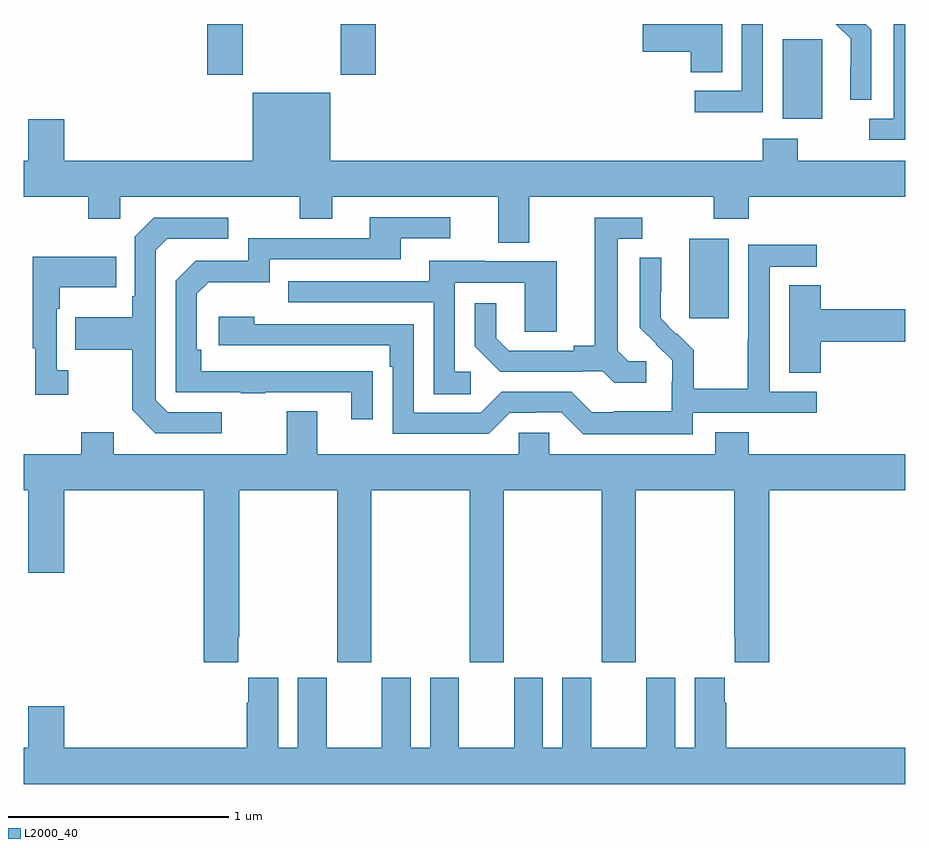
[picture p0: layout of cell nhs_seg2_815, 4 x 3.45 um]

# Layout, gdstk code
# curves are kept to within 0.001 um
import gdstk
lib = gdstk.Library(unit=1e-6, precision=1e-09)
def R(c, l, rs):  # rectangles x0, y0, x1, y1
    for r in rs: c.add(gdstk.rectangle(r[:2], r[2:], *l))
def P(c, l, *ps):  # polygons
    for p in ps: c.add(gdstk.Polygon(p, *l))
L2000_40 = (2000, 40)

nhs_seg2_815 = lib.new_cell('nhs_seg2_815')
R(nhs_seg2_815, L2000_40, [(156.02,600.465,156.199,600.826), (156.443,601.37,156.622,601.731), (153.833,601.569,153.993,601.8), (154.438,601.569,154.598,601.8)])
P(nhs_seg2_815, L2000_40, [(156.846,601.774),(156.82,601.8),(156.684,601.8),(156.752,601.733),(156.752,601.61),(156.75,601.61),(156.75,601.456),(156.846,601.456)],
  [(157,601.8),(156.947,601.8),(156.947,601.371),(156.837,601.371),(156.837,601.275),(157,601.275)],
  [(156.354,601.8),(156.258,601.8),(156.258,601.497),(156.045,601.497),(156.045,601.399),(156.354,601.399)],
  [(156.169,601.8),(155.808,601.8),(155.808,601.673),(156.026,601.673),(156.026,601.582),(156.169,601.582)],
  [(155.293,601.016),(156.13,601.016),(156.13,600.917),(156.29,600.917),(156.29,601.016),(157,601.016),(157,601.18),(156.513,601.18),(156.513,601.279),(156.353,601.279),(156.353,601.18),(154.39,601.18),(154.39,601.489),(154.04,601.489),(154.04,601.18),(153.184,601.18),(153.184,601.369),(153.02,601.369),(153.02,601.18),(153,601.18),(153,601.016),(153.292,601.016),(153.292,600.917),(153.438,600.917),(153.438,601.016),(154.252,601.016),(154.252,600.917),(154.399,600.917),(154.399,601.016),(155.153,601.016),(155.153,600.808),(155.293,600.808)],
  [(154.583,600.224),(153.806,600.225),(153.806,600.322),(153.786,600.322),(153.786,600.576),(153.839,600.629),(154.116,600.629),(154.116,600.732),(154.711,600.732),(154.711,600.828),(154.936,600.828),(154.936,600.924),(154.571,600.924),(154.571,600.828),(154.02,600.828),(154.02,600.726),(153.78,600.726),(153.69,600.636),(153.69,600.129),(153.985,600.129),(153.985,600.124),(154.097,600.124),(154.097,600.129),(154.487,600.129),(154.487,600.006),(154.583,600.006)],
  [(155.824,600.27),(155.742,600.27),(155.695,600.317),(155.695,600.825),(155.806,600.825),(155.806,600.921),(155.591,600.921),(155.591,600.341),(155.495,600.341),(155.495,600.318),(155.2,600.318),(155.143,600.375),(155.143,600.532),(155.046,600.532),(155.046,600.338),(155.162,600.222),(155.534,600.222),(155.534,600.225),(155.628,600.225),(155.68,600.173),(155.824,600.173)],
  [(153.898,600.039),(153.654,600.039),(153.6,600.093),(153.6,600.774),(153.651,600.825),(153.928,600.825),(153.928,600.921),(153.591,600.921),(153.504,600.834),(153.504,600.565),(153.492,600.565),(153.492,600.469),(153.235,600.469),(153.235,600.322),(153.492,600.322),(153.492,600.049),(153.597,599.943),(153.898,599.943)],
  [(156.036,600.036),(156.598,600.036),(156.598,600.132),(156.384,600.132),(156.384,600.699),(156.598,600.699),(156.598,600.798),(156.288,600.798),(156.288,600.368),(156.286,600.368),(156.286,600.145),(156.041,600.145),(156.041,600.319),(155.964,600.396),(155.961,600.393),(155.891,600.464),(155.892,600.74),(155.796,600.74),(155.796,600.422),(155.942,600.274),(155.942,600.177),(155.94,600.177),(155.94,600.043),(155.677,600.043),(155.677,600.039),(155.577,600.039),(155.484,600.132),(155.169,600.132),(155.073,600.036),(154.77,600.036),(154.77,600.438),(154.046,600.438),(154.046,600.472),(153.885,600.472),(153.885,600.342),(154.661,600.342),(154.661,600.245),(154.674,600.245),(154.674,599.94),(155.109,599.94),(155.205,600.036),(155.324,600.036),(155.324,600.039),(155.439,600.039),(155.539,599.939),(156.036,599.939)],
  [(153.202,600.23),(153.15,600.23),(153.15,600.509),(153.163,600.509),(153.163,600.605),(153.419,600.605),(153.419,600.745),(153.042,600.745),(153.042,600.329),(153.053,600.329),(153.053,600.117),(153.202,600.117)],
  [(155.029,600.222),(154.956,600.222),(154.956,600.627),(155.274,600.627),(155.274,600.403),(155.419,600.403),(155.419,600.723),(155.095,600.723),(155.095,600.727),(154.841,600.727),(154.841,600.633),(154.201,600.633),(154.201,600.537),(154.86,600.537),(154.86,600.121),(155.029,600.121)],
  [(156.617,600.359),(157,600.359),(157,600.506),(156.617,600.506),(156.617,600.614),(156.473,600.614),(156.473,600.217),(156.617,600.217)],
  [(153.973,599.017),(153.978,599.017),(153.978,599.684),(154.423,599.684),(154.423,598.905),(154.578,598.905),(154.578,599.684),(155.023,599.684),(155.023,598.905),(155.178,598.905),(155.178,599.684),(155.623,599.684),(155.623,598.905),(155.778,598.905),(155.778,599.684),(156.223,599.684),(156.223,599.017),(156.227,599.017),(156.227,598.905),(156.383,598.905),(156.383,599.684),(157,599.684),(157,599.848),(156.29,599.848),(156.29,599.947),(156.137,599.947),(156.137,599.848),(155.385,599.848),(155.385,599.946),(155.247,599.946),(155.247,599.848),(154.333,599.848),(154.333,600.043),(154.193,600.043),(154.193,599.848),(153.409,599.848),(153.409,599.947),(153.262,599.947),(153.262,599.848),(153,599.848),(153,599.684),(153.02,599.684),(153.02,599.31),(153.184,599.31),(153.184,599.684),(153.818,599.684),(153.818,598.905),(153.973,598.905)],
  [(157,598.516),(156.188,598.516),(156.188,598.721),(156.181,598.721),(156.181,598.834),(156.044,598.834),(156.044,598.516),(155.956,598.516),(155.956,598.834),(155.825,598.834),(155.825,598.516),(155.575,598.516),(155.575,598.834),(155.444,598.834),(155.444,598.516),(155.356,598.516),(155.356,598.834),(155.225,598.834),(155.225,598.516),(154.975,598.516),(154.975,598.834),(154.844,598.834),(154.844,598.516),(154.756,598.516),(154.756,598.834),(154.625,598.834),(154.625,598.516),(154.375,598.516),(154.375,598.834),(154.244,598.834),(154.244,598.516),(154.156,598.516),(154.156,598.834),(154.019,598.834),(154.019,598.721),(154.013,598.721),(154.013,598.516),(153.184,598.516),(153.184,598.705),(153.02,598.705),(153.02,598.516),(153,598.516),(153,598.352),(157,598.352)])

lib.write_gds('nhs_seg2_815.gds')
